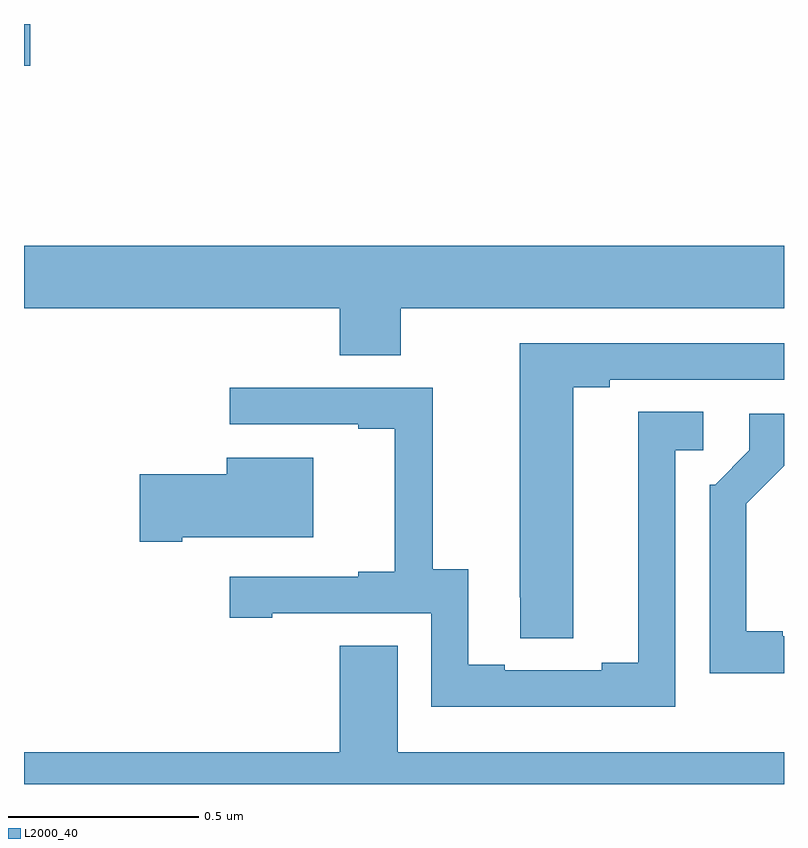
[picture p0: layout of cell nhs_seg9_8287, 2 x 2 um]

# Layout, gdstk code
import gdstk
lib = gdstk.Library(unit=1e-6, precision=1e-09)
def R(c, l, rs):  # rectangles x0, y0, x1, y1
    for r in rs: c.add(gdstk.rectangle(r[:2], r[2:], *l))
def P(c, l, *ps):  # polygons
    for p in ps: c.add(gdstk.Polygon(p, *l))
L2000_40 = (2000, 40)

nhs_seg9_8287 = lib.new_cell('nhs_seg9_8287')
R(nhs_seg9_8287, L2000_40, [(215,1198.39,215.017,1198.5)])
P(nhs_seg9_8287, L2000_40, [(215.991,1197.752),(217,1197.752),(217,1197.916),(215,1197.916),(215,1197.752),(215.831,1197.752),(215.831,1197.628),(215.991,1197.628)],
  [(216.445,1197.544),(216.541,1197.544),(216.541,1197.564),(217,1197.564),(217,1197.66),(216.305,1197.66),(216.305,1196.992),(216.306,1196.992),(216.306,1196.884),(216.445,1196.884)],
  [(216.714,1197.378),(216.787,1197.378),(216.787,1197.479),(216.617,1197.479),(216.617,1196.819),(216.521,1196.819),(216.521,1196.799),(216.265,1196.799),(216.265,1196.814),(216.169,1196.814),(216.169,1197.065),(216.075,1197.065),(216.075,1197.543),(215.541,1197.543),(215.541,1197.447),(215.879,1197.447),(215.879,1197.435),(215.975,1197.435),(215.975,1197.058),(215.879,1197.058),(215.879,1197.045),(215.541,1197.045),(215.541,1196.937),(215.653,1196.937),(215.653,1196.949),(216.072,1196.949),(216.072,1196.703),(216.714,1196.703)],
  [(217,1196.889),(216.997,1196.889),(216.997,1196.902),(216.901,1196.902),(216.901,1197.238),(217,1197.337),(217,1197.474),(216.909,1197.474),(216.909,1197.378),(216.819,1197.288),(216.804,1197.288),(216.804,1196.792),(217,1196.792)],
  [(215.416,1197.149),(215.761,1197.149),(215.761,1197.358),(215.534,1197.358),(215.534,1197.315),(215.304,1197.315),(215.304,1197.137),(215.416,1197.137)],
  [(217,1196.584),(215.983,1196.584),(215.983,1196.864),(215.831,1196.864),(215.831,1196.584),(215,1196.584),(215,1196.5),(217,1196.5)])

lib.write_gds('nhs_seg9_8287.gds')
